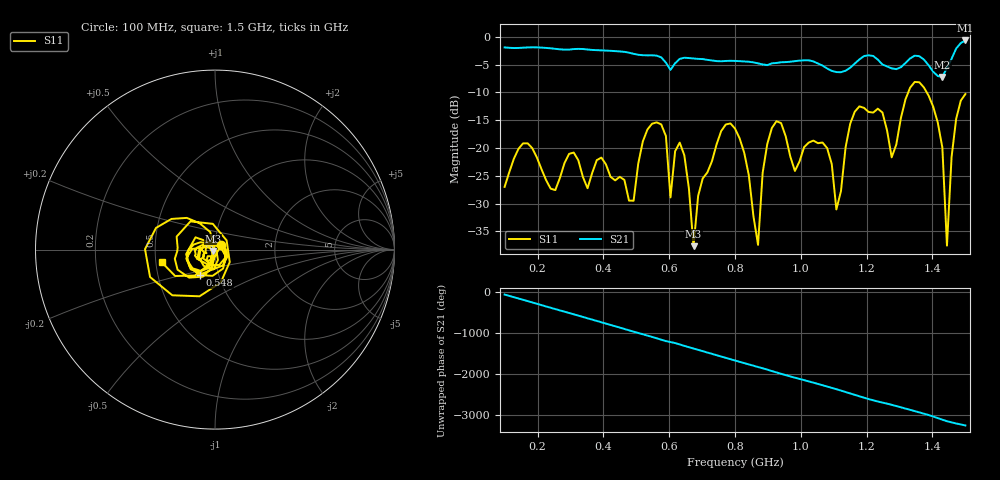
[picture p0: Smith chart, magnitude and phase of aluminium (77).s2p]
! NanoVNA-App
! Date: 2025-09-26 09:58:39
! Start: 100MHz Stop: 1,5GHz Points: 101
! S-Parameter data: F S11 S21 S12 S22
# Hz S RI R 50
!  Frequency  S11_Real  S11_Imag  S21_Real  S21_Imag  S12_Real  S12_Imag  S22_Real  S22_Imag
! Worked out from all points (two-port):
!   101 points, 100 MHz to 1.5 GHz, reference 50 ohm
!   highest |S21| = -0.66 dB at 1.5 GHz (marker M1); lowest = -7.2 dB at 1.43 GHz (marker M2)
!   |S21| within 3 dB of the highest: start of sweep to 574.1 MHz; 1.187 GHz to 1.224 GHz (36.95 MHz wide, 3.06 % of centre)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
!   lowest |S11| = -37.6 dB at 674 MHz (marker M3), VSWR 1.03, Z = 48.9 - j0.705 ohm
!   |S11| at or under -10 dB: start of sweep to 1.326 GHz; 1.383 GHz to end of sweep
!   S12 and S22 are empty: the file has one direction only
!   S11 on the Smith chart (normalised r, x): 100 MHz: 1.07, +0.06; 548 MHz: 0.81, -0.24; 1.5 GHz: 0.54, -0.08
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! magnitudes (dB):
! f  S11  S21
! 100 MHz  -27.0  -1.9
! 156 MHz  -19.2  -2.0
! 338 MHz  -25.2  -2.2
! 492 MHz  -29.5  -3.1
! 548 MHz  -15.6  -3.3
! 576 MHz  -15.8  -3.7
! 604 MHz  -28.9  -6.0
! 646 MHz  -21.3  -3.8
! 674 MHz  -37.6  -3.9
! 702 MHz  -25.5  -4.0
! 800 MHz  -16.5  -4.3
! 870 MHz  -37.4  -4.8
! 912 MHz  -16.4  -4.8
! 1.038 GHz  -18.7  -4.4
! 1.108 GHz  -31.1  -6.3
! 1.178 GHz  -12.5  -4.1
! 1.276 GHz  -21.7  -5.7
! 1.346 GHz  -8.1  -3.4
! 1.43 GHz  -19.9  -7.2
! 1.444 GHz  -37.5  -5.6
! 1.472 GHz  -14.7  -2.1
! 1.5 GHz  -10.3  -0.7
